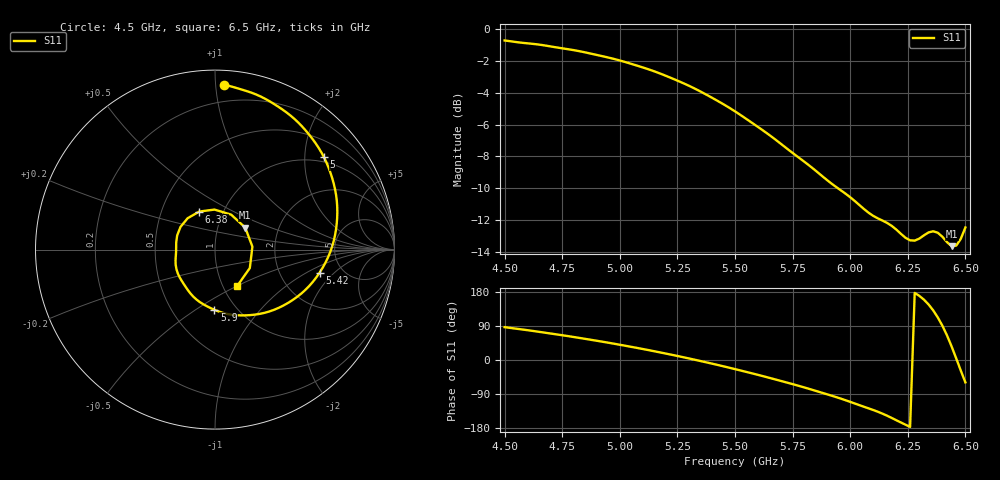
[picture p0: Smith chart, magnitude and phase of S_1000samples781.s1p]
! TOUCHSTONE file generated by CST MICROWAVE STUDIO
! Date and time: Sat Oct 29 08:47:29 2022
! Project name: L.cst
! Parameters = {Di=1.27; Epsilon_r=1.56; InnerDiameter=1.27; Length=2; Lf=10; Lg=60; OuterConductorThickness=0.2921; OuterDiameter=3.6; Wf=3; Wp=41.2; de=1.5; df=6.8; g=0.8; gx=2.71952; gy=3.37064; h=2.34; hf=1.524; px=12.5988; py=13.4357; w=9.7; wx=9.87931; wy=10.0651}
! Header version: 2018
! Port assignment regex: !\s*Touchstone port\s*([0-9]+)\s*=\s*(CST MWS port|CST DS port)\s*([0-9]+|Zmin|Zmax)\s*\(\"(.*)\"\)(\s*mode\s*([0-9]+))?.*
! Touchstone port assignment:
! Touchstone port 1 = CST MWS port 1 ("")
# GHz S DB R 50
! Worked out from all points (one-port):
!   101 points, 4.5 GHz to 6.5 GHz, reference 50 ohm
!   lowest |S11| = -13.6 dB at 6.44 GHz (marker M1), VSWR 1.53, Z = 67.7 + j17.4 ohm
!   |S11| at or under -10 dB: 5.947 GHz to end of sweep
!   S11 on the Smith chart (normalised r, x): 4.5 GHz: 0.09, +1.06; 5 GHz: 0.88, +2.46; 5.42 GHz: 3.38, -1.35; 5.9 GHz: 0.79, -0.60; 6.38 GHz: 0.77, +0.35; 6.5 GHz: 1.16, -0.50
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4.5  -0.73 86.7
4.64  -0.97 75.2
4.76  -1.24 64.4
4.88  -1.57 52.8
5  -1.99 40.2
5.14  -2.62 24.3
5.26  -3.31 9.3
5.34  -3.85 -1.3
5.42  -4.48 -12.4
5.5  -5.17 -24.1
5.56  -5.76 -33.1
5.64  -6.56 -45.6
5.76  -7.89 -65.4
5.82  -8.55 -75.9
5.9  -9.49 -90.6
6  -10.56 -110.5
6.16  -12.17 -147.0
6.26  -13.26 -176.5
6.3  -13.15 169.3
6.34  -12.77 146.7
6.36  -12.69 131.1
6.38  -12.78 112.5
6.4  -13.04 90.6
6.42  -13.37 65.1
6.44  -13.63 36.1
6.46  -13.60 4.5
6.48  -13.17 -27.9
6.5  -12.45 -59.1
